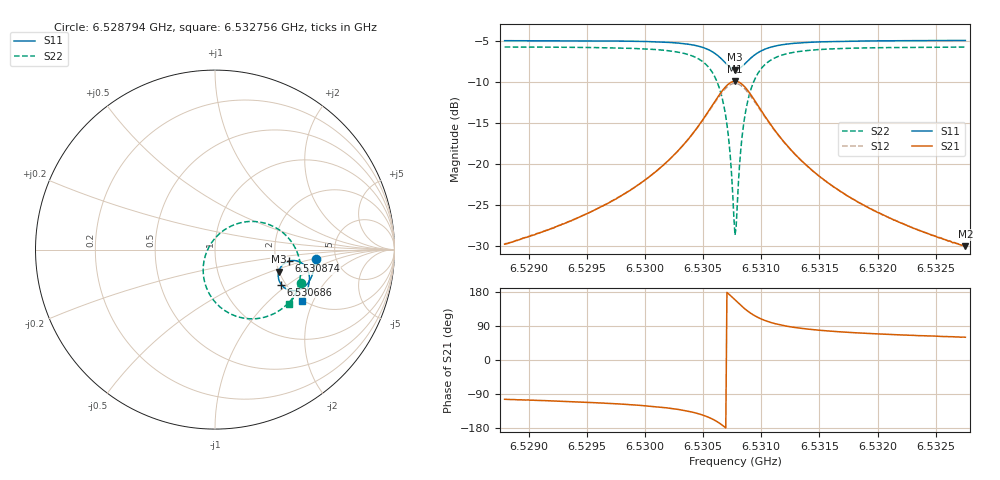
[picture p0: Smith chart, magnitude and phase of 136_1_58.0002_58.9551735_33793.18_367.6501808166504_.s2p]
#  HZ  S  RI  R  50.00
! Rohde & Schwarz Vector Network Analyzer
! Rohde-Schwarz,ZNB20-2Port,1311601062101988,3.16
! Created: UTC 3/21/2024, 12:56:19 AM
! freq[Hz]  re:S11  im:S11  re:S21  im:S21  re:S12  im:S12  re:S22  im:S22
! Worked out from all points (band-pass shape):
!   401 points, 6.528794 GHz to 6.532756 GHz, reference 50 ohm
!   highest |S21| = -9.93 dB at 6.530775 GHz (marker M1); lowest = -30.0 dB at 6.532756 GHz (marker M2)
!   |S21| within 3 dB of the highest: 6.530578 GHz to 6.530974 GHz (396.2 kHz wide, 0.00607 % of centre)
!   lowest |S11| = -8.5 dB at 6.530775 GHz (marker M3), VSWR 2.20, Z = 99.7 - j28.4 ohm
!   |S11| at or under -10 dB: nowhere
!   |S22| runs from -28.7 to -5.8 dB; largest |S21 - S12| = 0.013
!   S11 on the Smith chart (normalised r, x): 6.528794 GHz: 3.49, -0.54; 6.530686 GHz: 1.89, -0.89; 6.530874 GHz: 2.36, -0.37; 6.532756 GHz: 1.97, -1.66
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6.528794e9  0.5606 -0.053  -0.00765 -0.0315  -0.00834 -0.0314  0.4815 -0.1836
6.5294575e9  0.5513 -0.1093  -0.0172 -0.0449  -0.0184 -0.0445  0.449 -0.2463
6.5298141e9  0.5409 -0.1433  -0.0293 -0.0581  -0.0308 -0.0574  0.4172 -0.2888
6.5301211e9  0.524 -0.1775  -0.0522 -0.0772  -0.0544 -0.0756  0.3644 -0.3357
6.5303489e9  0.4969 -0.2079  -0.0933 -0.0974  -0.0963 -0.0942  0.2805 -0.3755
6.5305173e9  0.4521 -0.2281  -0.1641 -0.1046  -0.1666 -0.0976  0.1497 -0.3798
6.5306163e9  0.4057 -0.223  -0.2364 -0.0775  -0.2356 -0.0671  0.0287 -0.3204
6.5306856e9  0.369 -0.1949  -0.2899 -0.017  -0.2839 -0.00632  -0.0494 -0.2077
6.5307253e9  0.3549 -0.1659  -0.3067 0.0379  -0.2971 0.0466  -0.066 -0.1134
6.5307649e9  0.3534 -0.1312  -0.3021 0.1006  -0.2905 0.1057  -0.0459 -0.0115
6.5307748e9  0.3552 -0.1224  -0.297 0.1162  -0.2851 0.12  -0.0345 0.0126
6.5307847e9  0.3581 -0.1139  -0.2904 0.131  -0.2786 0.1338  -0.0209 0.0356
6.5307946e9  0.362 -0.1056  -0.2825 0.1452  -0.2707 0.1469  -0.00504 0.0571
6.5308342e9  0.3839 -0.079  -0.2397 0.1903  -0.2298 0.1885  0.0736 0.1229
6.5308738e9  0.4117 -0.0644  -0.1891 0.2148  -0.1818 0.2113  0.1617 0.1535
6.5309431e9  0.4564 -0.0632  -0.1108 0.2173  -0.1071 0.214  0.2931 0.1422
6.5310422e9  0.496 -0.0848  -0.0435 0.1855  -0.0415 0.1837  0.4022 0.0722
6.5311907e9  0.5196 -0.1212  -0.00224 0.1373  -0.000934 0.1366  0.4619 -0.0264
6.5314383e9  0.5262 -0.1649  0.0154 0.0899  0.0165 0.0896  0.4772 -0.1267
6.5317355e9  0.5211 -0.2014  0.0186 0.0613  0.0195 0.0612  0.4672 -0.1933
6.5321019e9  0.5104 -0.236  0.0179 0.0432  0.0187 0.0431  0.4489 -0.2446
6.5327556e9  0.4868 -0.2866  0.0157 0.0273  0.0163 0.0271  0.4149 -0.3045
